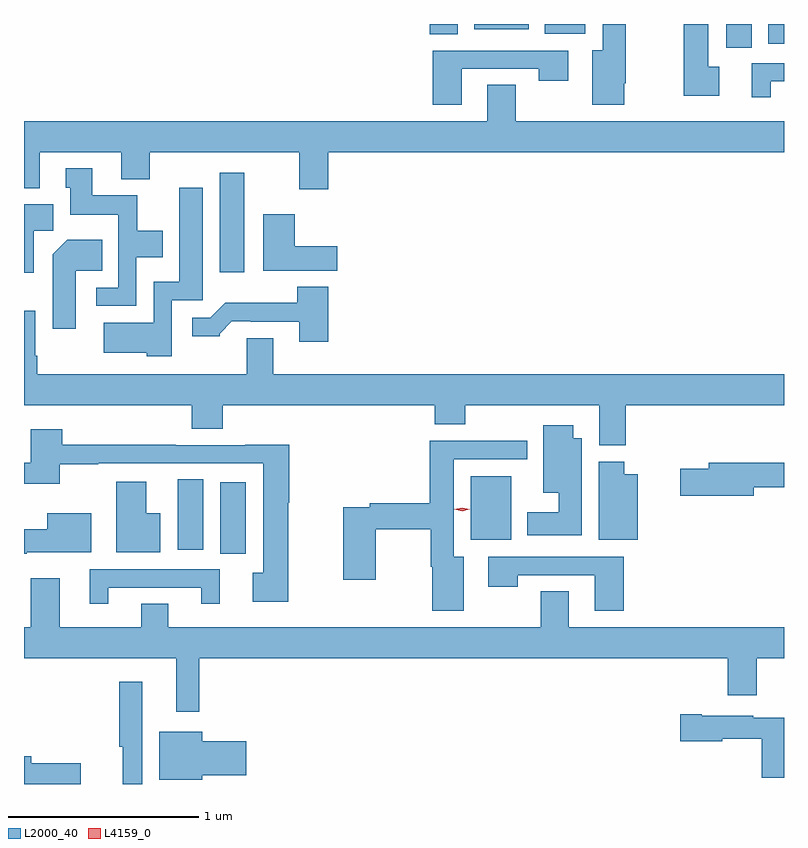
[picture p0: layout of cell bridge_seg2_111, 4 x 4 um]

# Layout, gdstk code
import gdstk
lib = gdstk.Library(unit=1e-6, precision=1e-09)
def R(c, l, rs):  # rectangles x0, y0, x1, y1
    for r in rs: c.add(gdstk.rectangle(r[:2], r[2:], *l))
def P(c, l, *ps):  # polygons
    for p in ps: c.add(gdstk.Polygon(p, *l))
L2000_40 = (2000, 40)
L4159_0 = (4159, 0)

bridge_seg2_111 = lib.new_cell('bridge_seg2_111')
R(bridge_seg2_111, L2000_40, [(598.256,638.862,598.39,639.238), (598.034,638.883,598.168,639.254), (599.576,638.936,599.788,639.271), (598.253,640.344,598.384,640.867), (600.92,641.526,601.054,641.651), (601.142,641.547,601.224,641.651), (599.36,641.596,599.506,641.651), (599.966,641.6,600.178,641.651), (599.594,641.624,599.881,641.651)])
P(bridge_seg2_111, L2000_40, [(600.382,641.338),(600.39,641.338),(600.39,641.651),(600.269,641.651),(600.269,641.512),(600.215,641.512),(600.215,641.226),(600.382,641.226)],
  [(600.883,641.426),(600.826,641.426),(600.826,641.651),(600.697,641.651),(600.697,641.273),(600.883,641.273)],
  [(599.527,641.415),(599.932,641.415),(599.932,641.352),(600.088,641.352),(600.088,641.511),(599.375,641.511),(599.375,641.226),(599.527,641.226)],
  [(601.153,641.349),(601.224,641.349),(601.224,641.445),(601.055,641.445),(601.055,641.265),(601.153,641.265)],
  [(598.826,640.976),(601.224,640.976),(601.224,641.14),(599.811,641.14),(599.811,641.33),(599.663,641.33),(599.663,641.14),(597.224,641.14),(597.224,640.787),(597.307,640.787),(597.307,640.976),(597.737,640.976),(597.737,640.835),(597.885,640.835),(597.885,640.976),(598.673,640.976),(598.673,640.782),(598.826,640.782)],
  [(597.816,640.424),(597.955,640.424),(597.955,640.564),(597.819,640.564),(597.819,640.75),(597.583,640.75),(597.583,640.891),(597.443,640.891),(597.443,640.788),(597.467,640.788),(597.467,640.646),(597.72,640.646),(597.72,640.263),(597.603,640.263),(597.603,640.167),(597.816,640.167)],
  [(598.002,640.197),(598.165,640.197),(598.165,640.789),(598.04,640.789),(598.04,640.294),(597.906,640.294),(597.906,640.078),(597.645,640.078),(597.645,639.92),(597.87,639.92),(597.87,639.902),(598.002,639.902)],
  [(597.274,640.564),(597.379,640.564),(597.379,640.702),(597.224,640.702),(597.224,640.343),(597.274,640.343)],
  [(598.873,640.482),(598.648,640.482),(598.648,640.651),(598.484,640.651),(598.484,640.352),(598.873,640.352)],
  [(597.496,640.352),(597.635,640.352),(597.635,640.516),(597.452,640.516),(597.374,640.438),(597.374,640.047),(597.496,640.047)],
  [(598.826,640.267),(598.661,640.267),(598.661,640.183),(598.282,640.183),(598.203,640.104),(598.11,640.104),(598.11,640.007),(598.254,640.007),(598.254,640.022),(598.318,640.086),(598.417,640.086),(598.417,640.083),(598.673,640.083),(598.673,639.978),(598.826,639.978)],
  [(600.392,639.644),(601.224,639.644),(601.224,639.808),(598.537,639.808),(598.537,639.998),(598.397,639.998),(598.397,639.808),(597.295,639.808),(597.295,639.904),(597.282,639.904),(597.282,640.141),(597.224,640.141),(597.224,639.644),(598.106,639.644),(598.106,639.52),(598.271,639.52),(598.271,639.644),(599.387,639.644),(599.387,639.545),(599.547,639.545),(599.547,639.644),(600.251,639.644),(600.251,639.433),(600.392,639.433)],
  [(600.16,639.472),(600.115,639.472),(600.115,639.538),(599.957,639.538),(599.957,639.185),(600.038,639.185),(600.038,639.082),(599.873,639.082),(599.873,638.96),(600.16,638.96)],
  [(598.614,639.132),(598.619,639.132),(598.619,639.437),(598.388,639.437),(598.388,639.435),(598.022,639.435),(598.022,639.437),(597.425,639.437),(597.425,639.517),(597.26,639.517),(597.26,639.343),(597.224,639.343),(597.224,639.23),(597.412,639.23),(597.412,639.334),(597.614,639.334),(597.614,639.339),(598.484,639.339),(598.484,638.762),(598.428,638.762),(598.428,638.609),(598.614,638.609)],
  [(599.539,638.848),(599.485,638.848),(599.485,639.36),(599.872,639.36),(599.872,639.458),(599.36,639.458),(599.36,639.128),(599.044,639.128),(599.044,639.108),(598.903,639.108),(598.903,638.727),(599.076,638.727),(599.076,638.992),(599.365,638.992),(599.365,638.795),(599.372,638.795),(599.372,638.562),(599.539,638.562)],
  [(600.454,639.28),(600.382,639.28),(600.382,639.348),(600.248,639.348),(600.248,638.936),(600.454,638.936)],
  [(601.066,639.214),(601.224,639.214),(601.224,639.343),(600.827,639.343),(600.827,639.309),(600.678,639.309),(600.678,639.167),(601.066,639.167)],
  [(597.94,639.076),(597.868,639.076),(597.868,639.241),(597.71,639.241),(597.71,638.87),(597.94,638.87)],
  [(597.238,638.87),(597.577,638.87),(597.577,639.076),(597.347,639.076),(597.347,638.992),(597.224,638.992),(597.224,638.863),(597.238,638.863)],
  [(600.38,638.847),(599.667,638.847),(599.667,638.688),(599.823,638.688),(599.823,638.751),(600.227,638.751),(600.227,638.562),(600.38,638.562)],
  [(597.667,638.685),(598.157,638.685),(598.157,638.601),(598.255,638.601),(598.255,638.781),(597.569,638.781),(597.569,638.601),(597.667,638.601)],
  [(598.147,638.312),(600.929,638.312),(600.929,638.118),(601.081,638.118),(601.081,638.312),(601.224,638.312),(601.224,638.476),(600.091,638.476),(600.091,638.666),(599.944,638.666),(599.944,638.476),(597.982,638.476),(597.982,638.6),(597.842,638.6),(597.842,638.476),(597.412,638.476),(597.412,638.734),(597.26,638.734),(597.26,638.476),(597.224,638.476),(597.224,638.312),(598.025,638.312),(598.025,638.031),(598.147,638.031)],
  [(597.847,638.188),(597.726,638.188),(597.726,637.847),(597.743,637.847),(597.743,637.651),(597.847,637.651)],
  [(601.224,637.999),(601.062,637.999),(601.062,638.011),(600.79,638.011),(600.79,638.019),(600.678,638.019),(600.678,637.877),(600.9,637.877),(600.9,637.889),(601.108,637.889),(601.108,637.685),(601.224,637.685)],
  [(598.162,637.697),(598.393,637.697),(598.393,637.875),(598.162,637.875),(598.162,637.927),(597.935,637.927),(597.935,637.673),(598.162,637.673)],
  [(597.523,637.76),(597.262,637.76),(597.262,637.796),(597.224,637.796),(597.224,637.651),(597.523,637.651)])
P(bridge_seg2_111, L4159_0, [(599.53,639.086),(599.489,639.096),(599.489,639.096),(599.489,639.097),(599.53,639.106),(599.571,639.097),(599.571,639.096),(599.571,639.096)])

lib.write_gds('bridge_seg2_111.gds')
